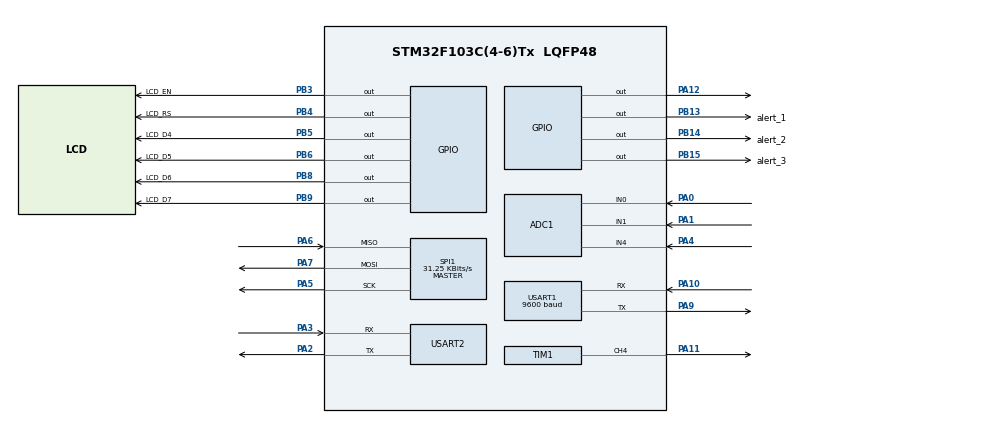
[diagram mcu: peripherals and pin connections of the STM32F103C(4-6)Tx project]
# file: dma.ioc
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ADC1.Channel-0\#ChannelRegularConversion=ADC_CHANNEL_4
ADC1.ContinuousConvMode=ENABLE
ADC1.NbrOfConversion=1
ADC1.NbrOfConversionFlag=1
ADC1.Rank-0\#ChannelRegularConversion=1
ADC1.SamplingTime-0\#ChannelRegularConversion=ADC_SAMPLETIME_1CYCLE_5
ADC1.master=1
Mcu.Family=STM32F1
Mcu.Name=STM32F103C(4-6)Tx
Mcu.Package=LQFP48
NVIC.PriorityGroup=NVIC_PRIORITYGROUP_4
NVIC.TIM2_IRQn=true\:0\:0\:false\:false\:true\:true\:true\:true
PA0-WKUP.Signal=ADCx_IN0
PA1.Signal=ADCx_IN1
PA10.Mode=Asynchronous
PA10.Signal=USART1_RX
PA11.Signal=S_TIM1_CH4
PA12.Signal=GPIO_Output
PA13.Mode=Serial_Wire
PA13.Signal=SYS_JTMS-SWDIO
PA14.Mode=Serial_Wire
PA14.Signal=SYS_JTCK-SWCLK
PA2.Mode=Asynchronous
PA2.Signal=USART2_TX
PA3.Mode=Asynchronous
PA3.Signal=USART2_RX
PA4.Signal=ADCx_IN4
PA5.Mode=Full_Duplex_Master
PA5.Signal=SPI1_SCK
PA6.Mode=Full_Duplex_Master
PA6.Signal=SPI1_MISO
PA7.Mode=Full_Duplex_Master
PA7.Signal=SPI1_MOSI
PA9.Mode=Asynchronous
PA9.Signal=USART1_TX
PB13.GPIO_Label=alert_1
PB13.Signal=GPIO_Output
PB14.GPIO_Label=alert_2
PB14.Signal=GPIO_Output
PB15.GPIO_Label=alert_3
PB15.Signal=GPIO_Output
PB3.GPIO_Label=LCD_EN
PB3.Signal=GPIO_Output
PB4.GPIO_Label=LCD_RS
PB4.Signal=GPIO_Output
PB5.GPIO_Label=LCD_D4
PB5.Signal=GPIO_Output
PB6.GPIO_Label=LCD_D5
PB6.Signal=GPIO_Output
PB8.GPIO_Label=LCD_D6
PB8.Signal=GPIO_Output
PB9.GPIO_Label=LCD_D7
PB9.Signal=GPIO_Output
PD0-OSC_IN.Mode=HSE-External-Oscillator
PD0-OSC_IN.Signal=RCC_OSC_IN
PD1-OSC_OUT.Mode=HSE-External-Oscillator
PD1-OSC_OUT.Signal=RCC_OSC_OUT
ProjectManager.HeapSize=0x200
ProjectManager.StackSize=0x400
ProjectManager.TargetToolchain=MDK-ARM V5.32
RCC.APB1Freq_Value=8000000
RCC.APB2Freq_Value=8000000
SH.ADCx_IN0.0=ADC1_IN0,IN0
SH.ADCx_IN1.0=ADC1_IN1,IN1
SH.ADCx_IN4.0=ADC1_IN4,IN4
SH.S_TIM1_CH4.0=TIM1_CH4,Output Compare4 CH4
SPI1.BaudRatePrescaler=SPI_BAUDRATEPRESCALER_256
SPI1.CLKPhase=SPI_PHASE_2EDGE
SPI1.CalculateBaudRate=31.25 KBits/s
SPI1.Direction=SPI_DIRECTION_2LINES
SPI1.Mode=SPI_MODE_MASTER
SPI1.VirtualType=VM_MASTER
TIM1.Channel-Output\ Compare4\ CH4=TIM_CHANNEL_4
TIM2.Period=63999
TIM2.Prescaler=124
USART1.BaudRate=9600
USART1.VirtualMode=VM_ASYNC
USART2.VirtualMode=VM_ASYNC
VP_TIM2_VS_ClockSourceINT.Mode=Internal
board=custom

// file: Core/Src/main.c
/* USER CODE BEGIN Header */
/**
  ******************************************************************************
  * @file           : main.c
  * @brief          : Main program body
  ******************************************************************************
  * @attention
  *
  * Copyright (c) 2023 STMicroelectronics.
  * All rights reserved.
  *
  * This software is licensed under terms that can be found in the LICENSE file
  * in the root directory of this software component.
  * If no LICENSE file comes with this software, it is provided AS-IS.
  *
  ******************************************************************************
  */
/* USER CODE END Header */
#include "main.h"

/* USER CODE BEGIN Includes */
#include "stdio.h"
#include "LCD.h"
#include "stdlib.h"
#include "math.h"

int flag = 0;
uint16_t readValue1;
uint16_t readValue2;
uint16_t readValue3;
ADC_ChannelConfTypeDef sConfigPrivate = {0};
uint16_t tempature;
/* USER CODE END Includes */

ADC_HandleTypeDef hadc1;

SPI_HandleTypeDef hspi1;

TIM_HandleTypeDef htim1;
TIM_HandleTypeDef htim2;

UART_HandleTypeDef huart1;
UART_HandleTypeDef huart2;

void SystemClock_Config(void);
static void MX_GPIO_Init(void);
static void MX_ADC1_Init(void);
static void MX_USART1_UART_Init(void);
static void MX_SPI1_Init(void);
static void MX_TIM1_Init(void);
static void MX_TIM2_Init(void);
static void MX_USART2_UART_Init(void);

/* USER CODE BEGIN 0 */
void  Read_ADC()
{
	  sConfigPrivate.Rank = ADC_REGULAR_RANK_1;
	  sConfigPrivate.SamplingTime = ADC_SAMPLETIME_1CYCLE_5;
	  sConfigPrivate.Channel = ADC_CHANNEL_0;
  	  HAL_ADC_ConfigChannel(&hadc1, &sConfigPrivate);
	  HAL_ADC_Start(&hadc1);
	  HAL_ADC_PollForConversion(&hadc1,1000);
	  readValue1 = HAL_ADC_GetValue(&hadc1);
	  HAL_ADC_Stop(&hadc1);
	  sConfigPrivate.Channel = ADC_CHANNEL_1;
	  HAL_ADC_ConfigChannel(&hadc1, &sConfigPrivate);
	  HAL_ADC_Start(&hadc1);
	  HAL_ADC_PollForConversion(&hadc1,1000);
	  readValue2 = HAL_ADC_GetValue(&hadc1);
	  HAL_ADC_Stop(&hadc1);
	  sConfigPrivate.Channel = ADC_CHANNEL_2;
	  HAL_ADC_ConfigChannel(&hadc1, &sConfigPrivate);
	  HAL_ADC_Start(&hadc1);
	  HAL_ADC_PollForConversion(&hadc1,1000);
	  readValue3 = HAL_ADC_GetValue(&hadc1);
	  HAL_ADC_Stop(&hadc1);
}

void show_status(){
	tempature = ((readValue1 * 3.3) / 4096) * 1000;
			tempature = tempature / 10;
   if (readValue1 >= 0x744 || tempature <= 25) // 1.5 volt and less than 25C
        {
            HAL_GPIO_WritePin(GPIOB, alert_1_Pin, GPIO_PIN_SET);
        }
				else{
				 HAL_GPIO_WritePin(GPIOB, alert_1_Pin, GPIO_PIN_RESET);
}
				  if (readValue2 >= 0x744) // 1.5 volt
        {
            HAL_GPIO_WritePin(GPIOB, alert_2_Pin, GPIO_PIN_SET);
        }
				else{
				 HAL_GPIO_WritePin(GPIOB, alert_2_Pin, GPIO_PIN_RESET);
}
      if (readValue3 >= 0x744) // 1.5 volt
        {
            HAL_GPIO_WritePin(GPIOB, alert_3_Pin, GPIO_PIN_SET);
        }
				else{
				 HAL_GPIO_WritePin(GPIOB, alert_3_Pin, GPIO_PIN_RESET);
}}

void lcd_screen(char yazi1[32], char yazi2[32], char yazi3[32]) {
    lcd_print(1, 1, "   ADC Values: ");
    HAL_Delay(200);

    sprintf(yazi1, "%d", readValue1);
    lcd_print(2, 1, yazi1);
    HAL_Delay(30);

    sprintf(yazi2, "%d", readValue2);
    lcd_print(3, 1, yazi2);
    sprintf(yazi3, "%d", readValue3);
    lcd_print(4, 1, yazi3);

    HAL_Delay(100);
}

// y = mx + b
static uint8_t r; // correlation coefficient
static uint8_t b; // dependent variable
static uint8_t m; // slope

// linear regression is used to predict
void smart_algorithm(uint32_t x[], uint32_t y[], uint8_t size){
	double sum_x = 0.0;
	double sum_x2 = 0.0;
	double sum_xy = 0.0;
	double sum_y = 0.0;
	double sum_y2 = 0.0;

	for(int i=0; i<size; i++){
		sum_x = sum_x + x[i];
		sum_x2 = x[i]* x[i];
		sum_xy = y[i] * x[i];
		sum_y = sum_y + y[i];
		sum_y2 = y[i] * y[i];
	}

	double denominator = (size*sum_x2) - (sum_x*sum_x);
	if(denominator == 0){
		b = 0;
		r = 0;
		m = 0;
	}else{
		b = (sum_y*sum_x2 - sum_x*sum_y)/denominator;
		m = (size*sum_xy - sum_x*sum_y)/denominator;
		if(r!=NULL){
			r = (sum_xy-sum_x*sum_y/size)/(sum_x2-(((sum_x*sum_x)/size))*(sum_y2 - ((sum_y*sum_y)/size))*(sum_x2 - ((sum_x*sum_x)/size))*(sum_y2 - ((sum_y*sum_y)/size)));
		}

	}
}

/* USER CODE END 0 */

int main(void)
{

  /* MCU Configuration--------------------------------------------------------*/

  /* Reset of all peripherals, Initializes the Flash interface and the Systick. */
  HAL_Init();

  /* Configure the system clock */
  SystemClock_Config();

  /* Initialize all configured peripherals */
  MX_GPIO_Init();
  MX_ADC1_Init();
  MX_USART1_UART_Init();
  MX_SPI1_Init();
  MX_TIM1_Init();
  MX_TIM2_Init();
  MX_USART2_UART_Init();
  /* USER CODE BEGIN 2 */
  HAL_TIM_OC_Start(&htim1, TIM_CHANNEL_4);
	HAL_TIM_Base_Start_IT(&htim2);
	//LDR
	//HAL_ADC_Start_DMA(&hadc1,(uint32_t*)&adcbuffer,100);

 lcd_init(_LCD_4BIT, _LCD_FONT_5x8, _LCD_2LINE);
 int i=0;
 char yazi1[32]=" ";
  char yazi2[32]=" ";
	 char yazi3[32]=" ";
	  char yazi4[32]=" ";
 HAL_Delay(250);
 char vterminal_data[256];
  char vterminal_data2[256];
	int len;
	int len2;
uint8_t data_receive_2[1];
	uint8_t data[1]; //DATA CREATING.....
	uint8_t spi_rx_data[]= {0};
	len = sprintf(vterminal_data, "Overuse of energy!!! \r\n");
len2 = sprintf(vterminal_data2, "Energy usage is normal \r\n");
  /* USER CODE END 2 */

  /* Infinite loop */
  /* USER CODE BEGIN WHILE */
	uint8_t n = 10;
		uint8_t counter = 10;
  uint32_t x[10]={1,2,3,4,5,6,7,8,9,10}; //times
	uint32_t y[10]={5,10,20,35,25,15,10,10,15,15}; // values that are used for prediction
	uint8_t prediction;
	uint8_t predictionx;

  while (1)
  { 		Read_ADC();
		    show_status();
				lcd_screen(yazi1,yazi2,yazi3);

		smart_algorithm(x,y,10);
		prediction = m*11+b;

if(prediction<10){
				HAL_UART_Transmit_IT(&huart1,(uint8_t*)vterminal_data, len+1);
			}
			else{
HAL_UART_Transmit(&huart1,(uint8_t*)vterminal_data2, len2+1, HAL_MAX_DELAY);
			}
	/*
			// BLUETOOTH MODULE
		HAL_UART_Receive(&huart2, data_receive_2, sizeof(data_receive_2), HAL_MAX_DELAY);
		if (data_receive_2[0] == '1') { // system is on
				// LED control logic for opening the LED
				flag = 1;
				HAL_GPIO_WritePin(GPIOA, GPIO_PIN_12, GPIO_PIN_SET);
		}else{ // system is off
				// LED control logic for closing the LED
				flag = 0;
				HAL_GPIO_WritePin(GPIOA, GPIO_PIN_12, GPIO_PIN_RESET);
		}
*/
    /* USER CODE END WHILE */

  }
}

void SystemClock_Config(void)
{
  RCC_OscInitTypeDef RCC_OscInitStruct = {0};
  RCC_ClkInitTypeDef RCC_ClkInitStruct = {0};
  RCC_PeriphCLKInitTypeDef PeriphClkInit = {0};

  /** Initializes the RCC Oscillators according to the specified parameters
  * in the RCC_OscInitTypeDef structure.
  */
  RCC_OscInitStruct.OscillatorType = RCC_OSCILLATORTYPE_HSI;
  RCC_OscInitStruct.HSIState = RCC_HSI_ON;
  RCC_OscInitStruct.HSICalibrationValue = RCC_HSICALIBRATION_DEFAULT;
  RCC_OscInitStruct.PLL.PLLState = RCC_PLL_NONE;
  if (HAL_RCC_OscConfig(&RCC_OscInitStruct) != HAL_OK)
  {
    Error_Handler();
  }

  /** Initializes the CPU, AHB and APB buses clocks
  */
  RCC_ClkInitStruct.ClockType = RCC_CLOCKTYPE_HCLK|RCC_CLOCKTYPE_SYSCLK
                              |RCC_CLOCKTYPE_PCLK1|RCC_CLOCKTYPE_PCLK2;
  RCC_ClkInitStruct.SYSCLKSource = RCC_SYSCLKSOURCE_HSI;
  RCC_ClkInitStruct.AHBCLKDivider = RCC_SYSCLK_DIV1;
  RCC_ClkInitStruct.APB1CLKDivider = RCC_HCLK_DIV1;
  RCC_ClkInitStruct.APB2CLKDivider = RCC_HCLK_DIV1;

  if (HAL_RCC_ClockConfig(&RCC_ClkInitStruct, FLASH_LATENCY_0) != HAL_OK)
  {
    Error_Handler();
  }
  PeriphClkInit.PeriphClockSelection = RCC_PERIPHCLK_ADC;
  PeriphClkInit.AdcClockSelection = RCC_ADCPCLK2_DIV2;
  if (HAL_RCCEx_PeriphCLKConfig(&PeriphClkInit) != HAL_OK)
  {
    Error_Handler();
  }
}

static void MX_ADC1_Init(void)
{

  ADC_ChannelConfTypeDef sConfig = {0};

  /** Common config
  */
  hadc1.Instance = ADC1;
  hadc1.Init.ScanConvMode = ADC_SCAN_DISABLE;
  hadc1.Init.ContinuousConvMode = ENABLE;
  hadc1.Init.DiscontinuousConvMode = DISABLE;
  hadc1.Init.ExternalTrigConv = ADC_SOFTWARE_START;
  hadc1.Init.DataAlign = ADC_DATAALIGN_RIGHT;
  hadc1.Init.NbrOfConversion = 1;
  if (HAL_ADC_Init(&hadc1) != HAL_OK)
  {
    Error_Handler();
  }

  /** Configure Regular Channel
  */
  sConfig.Channel = ADC_CHANNEL_4;
  sConfig.Rank = ADC_REGULAR_RANK_1;
  sConfig.SamplingTime = ADC_SAMPLETIME_1CYCLE_5;
  if (HAL_ADC_ConfigChannel(&hadc1, &sConfig) != HAL_OK)
  {
    Error_Handler();
  }

}

static void MX_SPI1_Init(void)
{

  /* SPI1 parameter configuration*/
  hspi1.Instance = SPI1;
  hspi1.Init.Mode = SPI_MODE_MASTER;
  hspi1.Init.Direction = SPI_DIRECTION_2LINES;
  hspi1.Init.DataSize = SPI_DATASIZE_8BIT;
  hspi1.Init.CLKPolarity = SPI_POLARITY_LOW;
  hspi1.Init.CLKPhase = SPI_PHASE_2EDGE;
  hspi1.Init.NSS = SPI_NSS_SOFT;
  hspi1.Init.BaudRatePrescaler = SPI_BAUDRATEPRESCALER_256;
  hspi1.Init.FirstBit = SPI_FIRSTBIT_MSB;
  hspi1.Init.TIMode = SPI_TIMODE_DISABLE;
  hspi1.Init.CRCCalculation = SPI_CRCCALCULATION_DISABLE;
  hspi1.Init.CRCPolynomial = 10;
  if (HAL_SPI_Init(&hspi1) != HAL_OK)
  {
    Error_Handler();
  }

}

static void MX_TIM1_Init(void)
{

  TIM_MasterConfigTypeDef sMasterConfig = {0};
  TIM_OC_InitTypeDef sConfigOC = {0};
  TIM_BreakDeadTimeConfigTypeDef sBreakDeadTimeConfig = {0};

  htim1.Instance = TIM1;
  htim1.Init.Prescaler = 0;
  htim1.Init.CounterMode = TIM_COUNTERMODE_UP;
  htim1.Init.Period = 65535;
  htim1.Init.ClockDivision = TIM_CLOCKDIVISION_DIV1;
  htim1.Init.RepetitionCounter = 0;
  htim1.Init.AutoReloadPreload = TIM_AUTORELOAD_PRELOAD_DISABLE;
  if (HAL_TIM_OC_Init(&htim1) != HAL_OK)
  {
    Error_Handler();
  }
  sMasterConfig.MasterOutputTrigger = TIM_TRGO_RESET;
  sMasterConfig.MasterSlaveMode = TIM_MASTERSLAVEMODE_DISABLE;
  if (HAL_TIMEx_MasterConfigSynchronization(&htim1, &sMasterConfig) != HAL_OK)
  {
    Error_Handler();
  }
  sConfigOC.OCMode = TIM_OCMODE_TIMING;
  sConfigOC.Pulse = 0;
  sConfigOC.OCPolarity = TIM_OCPOLARITY_HIGH;
  sConfigOC.OCFastMode = TIM_OCFAST_DISABLE;
  sConfigOC.OCIdleState = TIM_OCIDLESTATE_RESET;
  sConfigOC.OCNIdleState = TIM_OCNIDLESTATE_RESET;
  if (HAL_TIM_OC_ConfigChannel(&htim1, &sConfigOC, TIM_CHANNEL_4) != HAL_OK)
  {
    Error_Handler();
  }
  sBreakDeadTimeConfig.OffStateRunMode = TIM_OSSR_DISABLE;
  sBreakDeadTimeConfig.OffStateIDLEMode = TIM_OSSI_DISABLE;
  sBreakDeadTimeConfig.LockLevel = TIM_LOCKLEVEL_OFF;
  sBreakDeadTimeConfig.DeadTime = 0;
  sBreakDeadTimeConfig.BreakState = TIM_BREAK_DISABLE;
  sBreakDeadTimeConfig.BreakPolarity = TIM_BREAKPOLARITY_HIGH;
  sBreakDeadTimeConfig.AutomaticOutput = TIM_AUTOMATICOUTPUT_DISABLE;
  if (HAL_TIMEx_ConfigBreakDeadTime(&htim1, &sBreakDeadTimeConfig) != HAL_OK)
  {
    Error_Handler();
  }
  HAL_TIM_MspPostInit(&htim1);

}

static void MX_TIM2_Init(void)
{

  TIM_ClockConfigTypeDef sClockSourceConfig = {0};
  TIM_MasterConfigTypeDef sMasterConfig = {0};

  htim2.Instance = TIM2;
  htim2.Init.Prescaler = 124;
  htim2.Init.CounterMode = TIM_COUNTERMODE_UP;
  htim2.Init.Period = 63999;
  htim2.Init.ClockDivision = TIM_CLOCKDIVISION_DIV1;
  htim2.Init.AutoReloadPreload = TIM_AUTORELOAD_PRELOAD_DISABLE;
  if (HAL_TIM_Base_Init(&htim2) != HAL_OK)
  {
    Error_Handler();
  }
  sClockSourceConfig.ClockSource = TIM_CLOCKSOURCE_INTERNAL;
  if (HAL_TIM_ConfigClockSource(&htim2, &sClockSourceConfig) != HAL_OK)
  {
    Error_Handler();
  }
  sMasterConfig.MasterOutputTrigger = TIM_TRGO_RESET;
  sMasterConfig.MasterSlaveMode = TIM_MASTERSLAVEMODE_DISABLE;
  if (HAL_TIMEx_MasterConfigSynchronization(&htim2, &sMasterConfig) != HAL_OK)
  {
    Error_Handler();
  }

}

static void MX_USART1_UART_Init(void)
{

  huart1.Instance = USART1;
  huart1.Init.BaudRate = 9600;
  huart1.Init.WordLength = UART_WORDLENGTH_8B;
  huart1.Init.StopBits = UART_STOPBITS_1;
  huart1.Init.Parity = UART_PARITY_NONE;
  huart1.Init.Mode = UART_MODE_TX_RX;
  huart1.Init.HwFlowCtl = UART_HWCONTROL_NONE;
  huart1.Init.OverSampling = UART_OVERSAMPLING_16;
  if (HAL_UART_Init(&huart1) != HAL_OK)
  {
    Error_Handler();
  }

}

static void MX_USART2_UART_Init(void)
{

  huart2.Instance = USART2;
  huart2.Init.BaudRate = 115200;
  huart2.Init.WordLength = UART_WORDLENGTH_8B;
  huart2.Init.StopBits = UART_STOPBITS_1;
  huart2.Init.Parity = UART_PARITY_NONE;
  huart2.Init.Mode = UART_MODE_TX_RX;
  huart2.Init.HwFlowCtl = UART_HWCONTROL_NONE;
  huart2.Init.OverSampling = UART_OVERSAMPLING_16;
  if (HAL_UART_Init(&huart2) != HAL_OK)
  {
    Error_Handler();
  }

}

static void MX_GPIO_Init(void)
{
  GPIO_InitTypeDef GPIO_InitStruct = {0};

  /* GPIO Ports Clock Enable */
  __HAL_RCC_GPIOD_CLK_ENABLE();
  __HAL_RCC_GPIOA_CLK_ENABLE();
  __HAL_RCC_GPIOB_CLK_ENABLE();

  /*Configure GPIO pin Output Level */
  HAL_GPIO_WritePin(GPIOB, alert_1_Pin|alert_2_Pin|alert_3_Pin|LCD_EN_Pin
                          |LCD_RS_Pin|LCD_D4_Pin|LCD_D5_Pin|LCD_D6_Pin
                          |LCD_D7_Pin, GPIO_PIN_RESET);

  /*Configure GPIO pin Output Level */
  HAL_GPIO_WritePin(GPIOA, GPIO_PIN_12, GPIO_PIN_RESET);

  /*Configure GPIO pins : alert_1_Pin alert_2_Pin alert_3_Pin LCD_EN_Pin
                           LCD_RS_Pin LCD_D4_Pin LCD_D5_Pin LCD_D6_Pin
                           LCD_D7_Pin */
  GPIO_InitStruct.Pin = alert_1_Pin|alert_2_Pin|alert_3_Pin|LCD_EN_Pin
                          |LCD_RS_Pin|LCD_D4_Pin|LCD_D5_Pin|LCD_D6_Pin
                          |LCD_D7_Pin;
  GPIO_InitStruct.Mode = GPIO_MODE_OUTPUT_PP;
  GPIO_InitStruct.Pull = GPIO_NOPULL;
  GPIO_InitStruct.Speed = GPIO_SPEED_FREQ_LOW;
  HAL_GPIO_Init(GPIOB, &GPIO_InitStruct);

  /*Configure GPIO pin : PA12 */
  GPIO_InitStruct.Pin = GPIO_PIN_12;
  GPIO_InitStruct.Mode = GPIO_MODE_OUTPUT_PP;
  GPIO_InitStruct.Pull = GPIO_NOPULL;
  GPIO_InitStruct.Speed = GPIO_SPEED_FREQ_LOW;
  HAL_GPIO_Init(GPIOA, &GPIO_InitStruct);

}

/* USER CODE BEGIN 4 */

void HAL_ADC_ConvCpltCallback(ADC_HandleTypeDef* hadc)
{
	flag=1;
 //values can be taken here, it works on keil
}
/* USER CODE END 4 */

void Error_Handler(void)
{
  __disable_irq();
  while (1)
  {
  }
}
